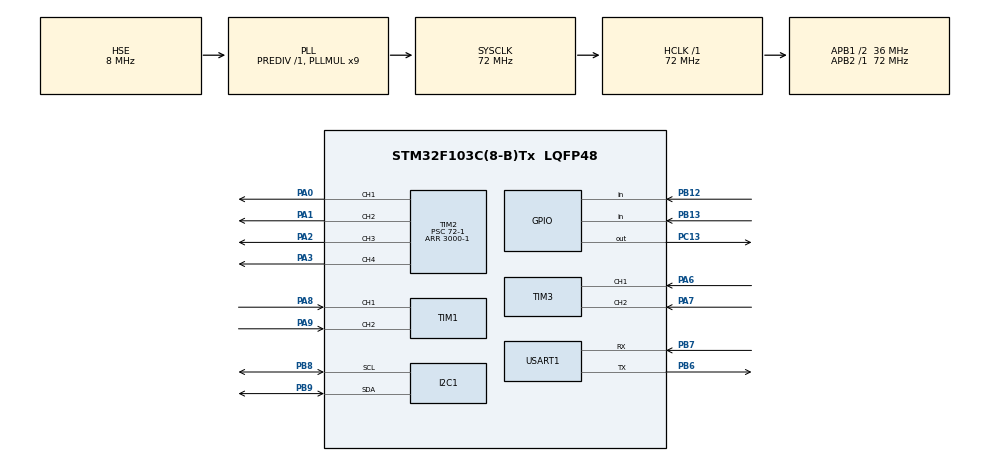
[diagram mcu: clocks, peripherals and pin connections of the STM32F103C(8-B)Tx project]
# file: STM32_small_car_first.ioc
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Mcu.Family=STM32F1
Mcu.Name=STM32F103C(8-B)Tx
Mcu.Package=LQFP48
NVIC.PriorityGroup=NVIC_PRIORITYGROUP_4
NVIC.TIM4_IRQn=true\:0\:0\:false\:false\:true\:true\:true
PA0-WKUP.Signal=S_TIM2_CH1_ETR
PA1.Signal=S_TIM2_CH2
PA13.Mode=Serial_Wire
PA13.Signal=SYS_JTMS-SWDIO
PA14.Mode=Serial_Wire
PA14.Signal=SYS_JTCK-SWCLK
PA2.Signal=S_TIM2_CH3
PA3.Signal=S_TIM2_CH4
PA6.Signal=S_TIM3_CH1
PA7.Signal=S_TIM3_CH2
PA8.Signal=S_TIM1_CH1
PA9.Signal=S_TIM1_CH2
PB12.Signal=GPIO_Input
PB13.Signal=GPIO_Input
PB6.Mode=Asynchronous
PB6.Signal=USART1_TX
PB7.Mode=Asynchronous
PB7.Signal=USART1_RX
PB8.Mode=I2C
PB8.Signal=I2C1_SCL
PB9.Mode=I2C
PB9.Signal=I2C1_SDA
PC13-TAMPER-RTC.Signal=GPIO_Output
PD0-OSC_IN.Mode=HSE-External-Oscillator
PD0-OSC_IN.Signal=RCC_OSC_IN
PD1-OSC_OUT.Mode=HSE-External-Oscillator
PD1-OSC_OUT.Signal=RCC_OSC_OUT
ProjectManager.HeapSize=0x200
ProjectManager.StackSize=0x400
ProjectManager.TargetToolchain=MDK-ARM V5.32
RCC.AHBFreq_Value=72000000
RCC.APB1CLKDivider=RCC_HCLK_DIV2
RCC.APB1Freq_Value=36000000
RCC.APB1TimFreq_Value=72000000
RCC.APB2Freq_Value=72000000
RCC.APB2TimFreq_Value=72000000
RCC.HCLKFreq_Value=72000000
RCC.PLLMUL=RCC_PLL_MUL9
RCC.PLLSourceVirtual=RCC_PLLSOURCE_HSE
RCC.SYSCLKFreq_VALUE=72000000
RCC.SYSCLKSource=RCC_SYSCLKSOURCE_PLLCLK
RCC.USBFreq_Value=72000000
SH.S_TIM1_CH1.0=TIM1_CH1,Encoder_Interface
SH.S_TIM1_CH2.0=TIM1_CH2,Encoder_Interface
SH.S_TIM2_CH1_ETR.0=TIM2_CH1,PWM Generation1 CH1
SH.S_TIM2_CH2.0=TIM2_CH2,PWM Generation2 CH2
SH.S_TIM2_CH3.0=TIM2_CH3,PWM Generation3 CH3
SH.S_TIM2_CH4.0=TIM2_CH4,PWM Generation4 CH4
SH.S_TIM3_CH1.0=TIM3_CH1,Encoder_Interface
SH.S_TIM3_CH2.0=TIM3_CH2,Encoder_Interface
TIM2.Channel-PWM\ Generation1\ CH1=TIM_CHANNEL_1
TIM2.Channel-PWM\ Generation2\ CH2=TIM_CHANNEL_2
TIM2.Channel-PWM\ Generation3\ CH3=TIM_CHANNEL_3
TIM2.Channel-PWM\ Generation4\ CH4=TIM_CHANNEL_4
TIM2.Period=3000-1
TIM2.Prescaler=72-1
TIM2.Pulse-PWM\ Generation1\ CH1=1000-1
TIM2.Pulse-PWM\ Generation2\ CH2=0
USART1.VirtualMode=VM_ASYNC
VP_TIM2_VS_ClockSourceINT.Mode=Internal
VP_TIM4_VS_ClockSourceINT.Mode=Internal
board=custom

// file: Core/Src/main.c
/* USER CODE BEGIN Header */
/**
  ******************************************************************************
  * @file           : main.c
  * @brief          : Main program body
  ******************************************************************************
  * @attention
  *
  * Copyright (c) 2022 STMicroelectronics.
  * All rights reserved.
  *
  * This software is licensed under terms that can be found in the LICENSE file
  * in the root directory of this software component.
  * If no LICENSE file comes with this software, it is provided AS-IS.
  *
  ******************************************************************************
  */
/* USER CODE END Header */
#include "main.h"
#include "i2c.h"
#include "tim.h"
#include "usart.h"
#include "gpio.h"

/* USER CODE BEGIN Includes */
#include <stdio.h>
#include "pid.h"
#include <math.h>
/* USER CODE END Includes */

/* USER CODE BEGIN PTD */
int MotorSpeedringht, MotorSpeedleft, MotorOutputleft, MotorOutputright;
pid_struct_t motor_pid_left, motor_pid_right;
unsigned char left = 0, right = 0, stright = 0;
/* USER CODE END PTD */

/* USER CODE BEGIN PD */
int fputc(int ch, FILE *f);
void Motor_Direction_Judge(int motor_speed);//方向判断
void pwmchange(void);
/* USER CODE END PD */

/* USER CODE BEGIN PV */
void turnright(void);
void turnleft(void);
void gostright(void);
/* USER CODE END PV */

void SystemClock_Config(void);

int main(void)
{

  /* MCU Configuration--------------------------------------------------------*/

  /* Reset of all peripherals, Initializes the Flash interface and the Systick. */
  HAL_Init();

  /* Configure the system clock */
  SystemClock_Config();

  /* Initialize all configured peripherals */
  MX_GPIO_Init();
  MX_I2C1_Init();
  MX_TIM1_Init();
  MX_TIM2_Init();
  MX_TIM3_Init();
  MX_TIM4_Init();
  MX_USART1_UART_Init();
  /* USER CODE BEGIN 2 */
	pid_init(&motor_pid_left, 200, 0.6, 0.8, 2000, 2000);
	pid_init(&motor_pid_right, 240, 0.8, 0.8, 2000, 2000);

	HAL_TIM_Encoder_Start(&htim1, TIM_CHANNEL_ALL);
	HAL_TIM_Encoder_Start(&htim3, TIM_CHANNEL_ALL);

//	HAL_GPIO_WritePin (GPIOA ,TIM_CHANNEL_1 , GPIO_PIN_RESET );
//	HAL_GPIO_WritePin (GPIOA ,TIM_CHANNEL_2 , GPIO_PIN_SET );
//	HAL_GPIO_WritePin (GPIOA ,TIM_CHANNEL_3 , GPIO_PIN_SET );
//	HAL_GPIO_WritePin (GPIOA ,TIM_CHANNEL_4 , GPIO_PIN_RESET );
//		__HAL_TIM_SET_COMPARE(&htim2, TIM_CHANNEL_1, 0);
//	__HAL_TIM_SET_COMPARE(&htim2, TIM_CHANNEL_2, 1000);
//	__HAL_TIM_SET_COMPARE(&htim2, TIM_CHANNEL_3, 1000);
//	__HAL_TIM_SET_COMPARE(&htim2, TIM_CHANNEL_4, 0);
	HAL_TIM_Base_Start_IT(&htim4);

	HAL_TIM_PWM_Start(&htim2,TIM_CHANNEL_1);
	HAL_TIM_PWM_Start(&htim2,TIM_CHANNEL_2);
	HAL_TIM_PWM_Start(&htim2,TIM_CHANNEL_3);
	HAL_TIM_PWM_Start(&htim2,TIM_CHANNEL_4);

  /* USER CODE END 2 */

  /* Infinite loop */
  while (1)
  {

    /* USER CODE BEGIN 3 */
		if (HAL_GPIO_ReadPin(GPIOB, GPIO_PIN_12))
		{
			turnright();
			pwmchange();
		}
		if (HAL_GPIO_ReadPin(GPIOB, GPIO_PIN_13))
		{
			turnleft();
			pwmchange();
		}
		if (!HAL_GPIO_ReadPin(GPIOB, GPIO_PIN_12) && !HAL_GPIO_ReadPin(GPIOB, GPIO_PIN_13))
		{
			gostright();
			pwmchange();
		}
		printf("MotorSpeedringht:%d\r\n", MotorSpeedringht);
		printf("MotorSpeedleft:%d\r\n", MotorSpeedleft);
//		if (HAL_GPIO_ReadPin(GPIOB, GPIO_PIN_12))
//		{
//			left++;
//			if (left >= 110)
//			{
//				left = 1;
//			}
//		}
//		if (HAL_GPIO_ReadPin(GPIOB, GPIO_PIN_13))
//		{
//			right++;
//			if (right >= 110)
//			{
//				right = 1;
//			}
//		}
//		if (left > 0 && right > 0 && stright > 20)
//		{
//			left = 0;
//			right = 0;
//		}
  }
  /* USER CODE END 3 */
}

void SystemClock_Config(void)
{
  RCC_OscInitTypeDef RCC_OscInitStruct = {0};
  RCC_ClkInitTypeDef RCC_ClkInitStruct = {0};

  /** Initializes the RCC Oscillators according to the specified parameters
  * in the RCC_OscInitTypeDef structure.
  */
  RCC_OscInitStruct.OscillatorType = RCC_OSCILLATORTYPE_HSE;
  RCC_OscInitStruct.HSEState = RCC_HSE_ON;
  RCC_OscInitStruct.HSEPredivValue = RCC_HSE_PREDIV_DIV1;
  RCC_OscInitStruct.HSIState = RCC_HSI_ON;
  RCC_OscInitStruct.PLL.PLLState = RCC_PLL_ON;
  RCC_OscInitStruct.PLL.PLLSource = RCC_PLLSOURCE_HSE;
  RCC_OscInitStruct.PLL.PLLMUL = RCC_PLL_MUL9;
  if (HAL_RCC_OscConfig(&RCC_OscInitStruct) != HAL_OK)
  {
    Error_Handler();
  }
  /** Initializes the CPU, AHB and APB buses clocks
  */
  RCC_ClkInitStruct.ClockType = RCC_CLOCKTYPE_HCLK|RCC_CLOCKTYPE_SYSCLK
                              |RCC_CLOCKTYPE_PCLK1|RCC_CLOCKTYPE_PCLK2;
  RCC_ClkInitStruct.SYSCLKSource = RCC_SYSCLKSOURCE_PLLCLK;
  RCC_ClkInitStruct.AHBCLKDivider = RCC_SYSCLK_DIV1;
  RCC_ClkInitStruct.APB1CLKDivider = RCC_HCLK_DIV2;
  RCC_ClkInitStruct.APB2CLKDivider = RCC_HCLK_DIV1;

  if (HAL_RCC_ClockConfig(&RCC_ClkInitStruct, FLASH_LATENCY_2) != HAL_OK)
  {
    Error_Handler();
  }
}

/* USER CODE BEGIN 4 */
void turnright()
{
	MotorSpeedringht = (short) __HAL_TIM_GET_COUNTER(&htim1);
	MotorSpeedleft = (short) __HAL_TIM_GET_COUNTER(&htim3);

	__HAL_TIM_SET_COUNTER(&htim1, 0);
	__HAL_TIM_SET_COUNTER(&htim3, 0); //计数器清0
		MotorOutputleft = -pid_calc(&motor_pid_left, -4, MotorSpeedleft);
	MotorOutputright =	pid_calc(&motor_pid_right, 0, MotorSpeedringht);
//	__HAL_TIM_SET_COMPARE(&htim2, TIM_CHANNEL_1, 0);
//	__HAL_TIM_SET_COMPARE(&htim2, TIM_CHANNEL_2, 0);
//	__HAL_TIM_SET_COMPARE(&htim2, TIM_CHANNEL_3, 500);
//	__HAL_TIM_SET_COMPARE(&htim2, TIM_CHANNEL_4, 0);
}
void turnleft()
{
	MotorSpeedringht = (short) __HAL_TIM_GET_COUNTER(&htim1);
	MotorSpeedleft = (short) __HAL_TIM_GET_COUNTER(&htim3);

	__HAL_TIM_SET_COUNTER(&htim1, 0);
	__HAL_TIM_SET_COUNTER(&htim3, 0); //计数器清0
	MotorOutputleft = -pid_calc(&motor_pid_left, 0, MotorSpeedleft);
	MotorOutputright =	pid_calc(&motor_pid_right, 4, MotorSpeedringht);
//	__HAL_TIM_SET_COMPARE(&htim2, TIM_CHANNEL_1, 0);
//	__HAL_TIM_SET_COMPARE(&htim2, TIM_CHANNEL_2, 500);
//	__HAL_TIM_SET_COMPARE(&htim2, TIM_CHANNEL_3, 0);
//	__HAL_TIM_SET_COMPARE(&htim2, TIM_CHANNEL_4, 0);
}
void gostright()
{
	MotorSpeedringht = (short) __HAL_TIM_GET_COUNTER(&htim1);
	MotorSpeedleft = (short) __HAL_TIM_GET_COUNTER(&htim3);

	__HAL_TIM_SET_COUNTER(&htim1, 0);
	__HAL_TIM_SET_COUNTER(&htim3, 0); //计数器清0
	MotorOutputleft = -pid_calc(&motor_pid_left, -10, MotorSpeedleft);
	MotorOutputright =	pid_calc(&motor_pid_right, 10, MotorSpeedringht);
//	__HAL_TIM_SET_COMPARE(&htim2, TIM_CHANNEL_1, 0);
//	__HAL_TIM_SET_COMPARE(&htim2, TIM_CHANNEL_2, 500);
//	__HAL_TIM_SET_COMPARE(&htim2, TIM_CHANNEL_3, 500);
//	__HAL_TIM_SET_COMPARE(&htim2, TIM_CHANNEL_4, 0);
}
int fputc(int ch, FILE *f)
{
    uint8_t temp[1] = {ch};
    HAL_UART_Transmit(&huart1 , temp ,1, 2);

    return ch;
}

//void HAL_TIM_PeriodElapsedCallback(TIM_HandleTypeDef* tim_baseHandle)
//{

//	if(tim_baseHandle->Instance == htim4.Instance)
//	{

//					printf("MotorSpeedringht:%d\r\n", MotorSpeedringht);
//			printf("MotorSpeedleft:%d\r\n", MotorSpeedleft);
//		stright++;
//		if (stright > 30)
//		{
//			stright = 21;
//		}

//		if (right == 0 && left == 0) //right <= 5 && left <= 5
//		{
//			MotorOutputleft = pid_calc(&motor_pid_left, 15, MotorSpeedleft);
//			MotorOutputright =	-pid_calc(&motor_pid_right, -15, MotorSpeedringht);
//
//		}
//		if (right > 0) //right > 5
//		{

//			MotorOutputleft = pid_calc(&motor_pid_left, 15, MotorSpeedleft);
//			MotorOutputright =	-pid_calc(&motor_pid_right, 0, MotorSpeedringht); //-
//		}
//		if (left > 0)
//		{
//				MotorOutputleft = pid_calc(&motor_pid_left, 0, MotorSpeedleft);
//			MotorOutputright =	-pid_calc(&motor_pid_right, -15, MotorSpeedringht); //-
//		}
//	}

//}

//void Motor_Direction_Judge(int motor_speed)//方向判断
//{
//		if (motor_speed < 0)//反转
//		{
//
//			HAL_TIM_PWM_Stop(&htim2,TIM_CHANNEL_1);
//			HAL_TIM_PWM_Start(&htim2,TIM_CHANNEL_2);

//		}
//		if (motor_speed >= 0)//正转
//		{
//			HAL_TIM_PWM_Stop(&htim2,TIM_CHANNEL_2);
//			HAL_TIM_PWM_Start(&htim2,TIM_CHANNEL_1);
//		}
//}
void pwmchange(void)
{
				if ( MotorOutputleft > 0)
			{
				__HAL_TIM_SET_COMPARE(&htim2, TIM_CHANNEL_1, MotorOutputleft);
			}
			else
			{
				__HAL_TIM_SET_COMPARE(&htim2, TIM_CHANNEL_2, -MotorOutputleft);
			}
			if (MotorOutputright > 0)
			{
				__HAL_TIM_SET_COMPARE(&htim2, TIM_CHANNEL_4, MotorOutputright);
			}
			else
			{
				__HAL_TIM_SET_COMPARE(&htim2, TIM_CHANNEL_3, -MotorOutputright);
			}
}
/* USER CODE END 4 */

void Error_Handler(void)
{
  __disable_irq();
  while (1)
  {
  }
}
